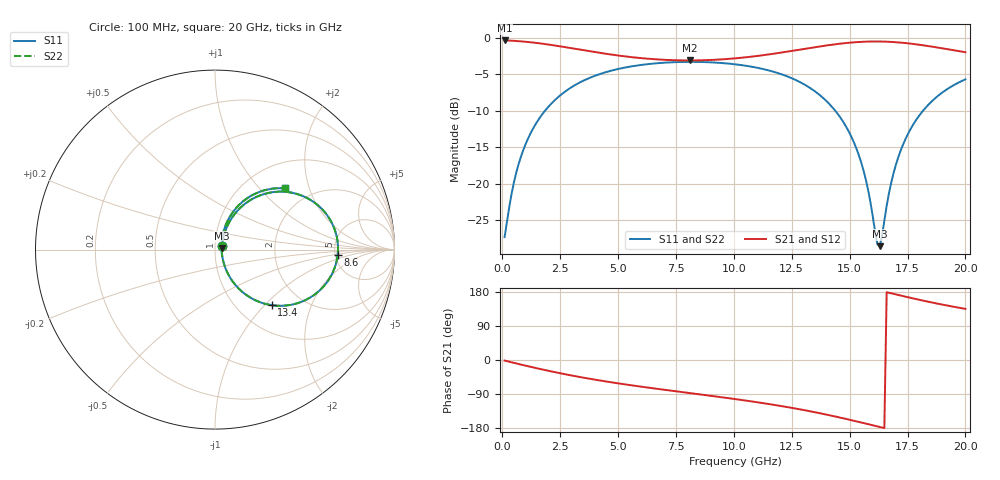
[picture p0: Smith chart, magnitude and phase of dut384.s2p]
! Touchstone file exported from HFSS 2026.1.0
!  File:  C:/ffzhzh/LocalFiles/Ansys_Project_Files/temp_train_TSV_RDL_384_1783089917_37876.aedt
!  Generated:  10:56:55 PM Jul  3, 2026
!  Design:  TSV_RDL
!  Project:  temp_train_TSV_RDL_384_1783089917_37876
! Variables:
!  h_bsmrdl = 5.56um
!  h_ox = 20um
!  h_rdl = 5um
!  h_sub = 59.63um
!  h_tmrdl = 2.35um
!  h_tsv = 59.63um
!  h_via = 3um
!  l_bsmrdl = 256.95um
!  l_sub = 3761.8um
!  l_tmrdl = 624um
!  m_sub = 200um
!  pitch = 50.58um
!  r_tsv = 2.72um
!  s_tmrdl = 10um
!  w_bsmrdl = 19.41um
!  w_sub = 500um
!  w_tmrdl = 12.24um
!  x_tsv_center1 = 630.12um
!  x_tsv_center2 = 906.48um
!  x_tsv_center3 = 1542.72um
!  x_tsv_center4 = 1819.08um
!  x_tsv_center5 = 2455.32um
!  x_tsv_center6 = 2731.68um
# GHz S MA R 50.000000
! Terminal data exported
! Port[1] = TM_RDL1_1_T1
! Port[2] = TM_RDL5_1_T1
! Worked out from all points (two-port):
!   200 points, 100 MHz to 20 GHz, reference 50 ohm
!   highest |S21| = -0.34 dB at 100 MHz (marker M1); lowest = -3.1 dB at 8.1 GHz (marker M2)
!   |S21| within 3 dB of the highest: start of sweep to end of sweep
!   lowest |S11| = -28.6 dB at 16.3 GHz (marker M3), VSWR 1.08, Z = 53.8 + j0.839 ohm
!   |S11| at or under -10 dB: start of sweep to 1.844 GHz; 14.38 GHz to 18.17 GHz (3.788 GHz wide, 23.3 % of centre)
!   |S22| runs from -28.6 to -3.3 dB; largest |S21 - S12| = 4.5e-14
!   S11 on the Smith chart (normalised r, x): 100 MHz: 1.08, +0.04; 8.6 GHz: 5.26, -0.60; 13.4 GHz: 1.42, -1.10; 20 GHz: 1.50, +1.40
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0.1  0.04288 24.8  0.9614 -1.5  0.9614 -1.5  0.04288 24.8
! Gamma 0 0 0 0
! Port Impedance 50 0 50 0
0.6  0.1184 61.1  0.9535 -9.1  0.9535 -9.1  0.1184 61.1
1.2  0.218 61.4  0.9353 -17.7  0.9353 -17.7  0.218 61.4
2.2  0.3653 52.5  0.8912 -31.2  0.8912 -31.2  0.3653 52.5
3.5  0.5087 39.2  0.8242 -46.6  0.8242 -46.6  0.5087 39.2
5.2  0.6219 23.7  0.7507 -63.4  0.7507 -63.4  0.6219 23.8
6.8  0.673 11.0  0.7107 -77.0  0.7107 -77.0  0.673 11.0
8.1  0.6854 1.2  0.7009 -87.3  0.7009 -87.3  0.6854 1.2
8.6  0.6839 -2.6  0.7025 -91.3  0.7025 -91.3  0.6839 -2.6
10.1  0.6581 -14.1  0.7254 -103.5  0.7254 -103.5  0.6581 -14.1
12  0.5674 -30.5  0.7916 -121.0  0.7916 -121.0  0.5674 -30.5
13.4  0.4417 -44.5  0.8591 -136.6  0.8591 -136.6  0.4417 -44.5
14.4  0.3135 -55.0  0.906 -149.4  0.906 -149.4  0.3135 -54.9
15.2  0.1895 -61.4  0.9337 -160.5  0.9337 -160.5  0.1894 -61.4
15.7  0.1065 -59.5  0.9435 -167.8  0.9435 -167.8  0.1065 -59.5
16.2  0.03825 -13.8  0.9462 -175.2  0.9462 -175.2  0.03826 -13.7
16.3  0.03716 12.1  0.9458 -176.7  0.9458 -176.7  0.0372 12.2
16.7  0.08583 60.9  0.9413 177.4  0.9413 177.4  0.08588 60.9
17.2  0.1678 66.4  0.9295 170.1  0.9295 170.1  0.1678 66.4
17.9  0.2776 62.0  0.9033 160.4  0.9033 160.4  0.2776 62.0
18.8  0.3985 53.0  0.8596 148.7  0.8596 148.7  0.3985 53.0
20  0.5195 41.0  0.7982 135.0  0.7982 135.0  0.5195 41.0
